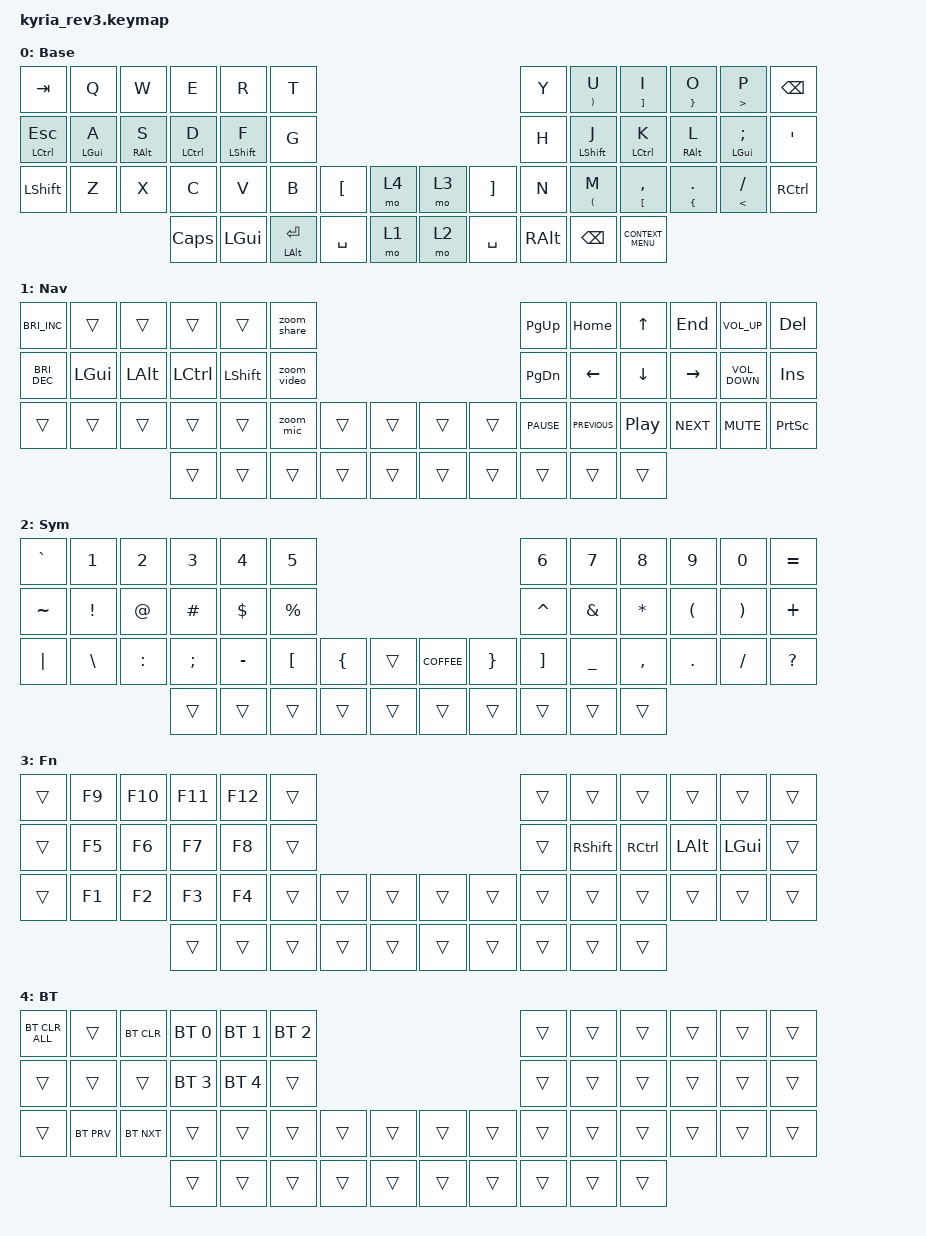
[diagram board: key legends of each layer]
/*
 * Copyright (c) 2023 The ZMK Contributors
 *
 * SPDX-License-Identifier: MIT
 */

#include <behaviors.dtsi>
#include <dt-bindings/zmk/bt.h>
#include <dt-bindings/zmk/keys.h>

/* Uncomment this block if using RGB
&led_strip {
    chain-length = <6>;
    // chain-length = <31>; // Uncomment if using both per-key and underglow LEDs
    // chain-length = <25>; // Uncomment if using only per-key LEDs.
};
 */

&mt {
    flavor = "balanced";
    tapping-term-ms = <350>;
    quick-tap-ms = <175>;
    require-prior-idle-ms = <150>;
};

/ {
    combos {
        compatible = "zmk,combos";

        print-dash-greater {
            bindings = <&printdashgreater>;
            key-positions = <5 6>;
        };

        print-equal-greater {
            bindings = <&printequalgreater>;
            key-positions = <17 18>;
        };

        vscode_terminal {
            bindings = <&none>;
            key-positions = <4 7>;
        };
    };

    macros {
        printdashgreater: printdashgreater {
            compatible = "zmk,behavior-macro";
            #binding-cells = <0>;
            bindings = <&kp MINUS &kp GT>;
            label = "PRINTDASHGREATER";
        };

        printequalgreater: printequalgreater {
            compatible = "zmk,behavior-macro";
            #binding-cells = <0>;
            bindings = <&kp EQUAL &kp GT>;
            label = "PRINTEQUALGREATER";
        };

        vscode_terminal: vscode_terminal {
            compatible = "zmk,behavior-macro";
            #binding-cells = <0>;
            bindings = <&kp LC(TILDE)>;
            label = "VSCODE_TERMINAL";
        };

        zoom_mic: zoom_mic {
            compatible = "zmk,behavior-macro";
            #binding-cells = <0>;
            bindings = <&kp LS(LG(A))>;
            label = "ZOOM_MIC";
        };

        zoom_video: zoom_video {
            compatible = "zmk,behavior-macro";
            #binding-cells = <0>;
            bindings = <&kp LS(LG(V))>;
            label = "ZOOM_VIDEO";
        };

        zoom_share: zoom_share {
            compatible = "zmk,behavior-macro";
            #binding-cells = <0>;
            bindings = <&kp LS(LG(S))>;
            label = "ZOOM_SHARE";
        };
    };

    keymap {
        compatible = "zmk,keymap";

        default_layer {
            display-name = "Base";
            // ---------------------------------------------------------------------------------------------------------------------------------
            // |  ESC  |  Q  |  W  |  E   |  R   |  T   |                                          |  Y   |  U    |  I    |  O   |   P   |   \  |
            // |  TAB  |  A  |  S  |  D   |  F   |  G   |                                          |  H   |  J    |  K    |  L   |   ;   |   '  |
            // | SHIFT |  Z  |  X  |  C   |  V   |  B   | L SHIFT | L SHIFT |  | LAYER 1 | L SHIFT |  N   |  M    |  ,    |  .   |   /   | CTRL |
            //                     | GUI  | DEL  | RET  |  SPACE  |   ESC   |  |   RET   |  SPACE  | TAB  | BSPC  | R-ALT |

            bindings = <
&kp TAB           &kp Q           &kp W            &kp E               &kp R             &kp T                                                                   &kp Y          &mt RIGHT_PARENTHESIS U  &mt RIGHT_BRACKET I     &mt RIGHT_BRACE O   &mt GREATER_THAN P   &kp BACKSPACE
&mt LCTRL ESCAPE  &mt LEFT_GUI A  &mt RIGHT_ALT S  &mt LEFT_CONTROL D  &mt LEFT_SHIFT F  &kp G                                                                   &kp H          &mt LEFT_SHIFT J         &mt LCTRL K             &mt RIGHT_ALT L     &mt LEFT_GUI SEMI    &kp SQT
&kp LSHFT         &kp Z           &kp X            &kp C               &kp V             &kp B                &kp LEFT_BRACKET  &mo 4  &mo 3  &kp RIGHT_BRACKET  &kp N          &mt LEFT_PARENTHESIS M   &mt LEFT_BRACKET COMMA  &mt LEFT_BRACE DOT  &mt LESS_THAN SLASH  &kp RCTRL
                                                   &kp CLCK            &kp LEFT_GUI      &mt LEFT_ALT RETURN  &kp SPACE         &mo 1  &mo 2  &kp SPACE          &kp RIGHT_ALT  &kp BSPC                 &kp K_CONTEXT_MENU
            >;
        };

        layer_3_navigation {
            display-name = "Nav";
            bindings = <
&kp C_BRIGHTNESS_INC  &trans        &trans        &trans     &trans          &zoom_share                                  &kp PAGE_UP    &kp HOME        &kp UP_ARROW      &kp END     &kp C_VOLUME_UP    &kp DELETE
&kp C_BRIGHTNESS_DEC  &kp LEFT_GUI  &kp LEFT_ALT  &kp LCTRL  &kp LEFT_SHIFT  &zoom_video                                  &kp PAGE_DOWN  &kp LEFT_ARROW  &kp DOWN_ARROW    &kp RIGHT   &kp C_VOLUME_DOWN  &kp INS
&trans                &trans        &trans        &trans     &trans          &zoom_mic    &trans  &trans  &trans  &trans  &kp C_PAUSE    &kp C_PREVIOUS  &kp C_PLAY_PAUSE  &kp C_NEXT  &kp C_MUTE         &kp PRINTSCREEN
                                                  &trans     &trans          &trans       &trans  &trans  &trans  &trans  &trans         &trans          &trans
            >;
        };

        layer_4_shift {
            display-name = "Sym";
            bindings = <
&kp GRAVE  &kp NUMBER_1   &kp NUMBER_2  &kp NUMBER_3   &kp NUMBER_4  &kp NUMBER_5                                                             &kp NUMBER_6       &kp NUMBER_7  &kp NUMBER_8  &kp NUMBER_9  &kp NUMBER_0  &kp EQUAL
&kp TILDE  &kp EXCL       &kp AT_SIGN   &kp HASH       &kp DOLLAR    &kp PERCENT                                                              &kp CARET          &kp AMPS      &kp ASTRK     &kp LPAR      &kp RPAR      &kp PLUS
&kp PIPE   &kp BACKSLASH  &kp COLON     &kp SEMICOLON  &kp MINUS     &kp LEFT_BRACKET  &kp LEFT_BRACE  &trans  &kp K_COFFEE  &kp RIGHT_BRACE  &kp RIGHT_BRACKET  &kp UNDER     &kp COMMA     &kp DOT       &kp SLASH     &kp QUESTION
                                        &trans         &trans        &trans            &trans          &trans  &trans        &trans           &trans             &trans        &trans
            >;
        };

        layer_5 {
            display-name = "Fn";
            bindings = <
&trans  &kp F9  &kp F10  &kp F11  &kp F12  &trans                                  &trans  &trans     &trans     &trans    &trans    &trans
&trans  &kp F5  &kp F6   &kp F7   &kp F8   &trans                                  &trans  &kp RSHFT  &kp RCTRL  &kp LALT  &kp LGUI  &trans
&trans  &kp F1  &kp F2   &kp F3   &kp F4   &trans  &trans  &trans  &trans  &trans  &trans  &trans     &trans     &trans    &trans    &trans
                         &trans   &trans   &trans  &trans  &trans  &trans  &trans  &trans  &trans     &trans
            >;
        };

        function_layer {
            display-name = "BT";
            // ---------------------------------------------------------------------------------------------------------------------------------
            // |       |      |BT_CLR|BTSEL0|BTSEL1|BTSEL2|                                         |      |      |      |      |      |      |
            // |       |      |      |BTSEL3|BTSEL4|      |                                         |      |      |      |      |      |      |
            // |       |      |      |      |      |      |      |      |      |      |      |      |      |      |      |      |      |      |
            //                       |      |      |      |      |      |      |      |      |      |      |      |      |

            bindings = <
&bt BT_CLR_ALL  &trans      &bt BT_CLR  &bt BT_SEL 0  &bt BT_SEL 1  &bt BT_SEL 2                                  &trans  &trans  &trans  &trans  &trans  &trans
&trans          &trans      &trans      &bt BT_SEL 3  &bt BT_SEL 4  &trans                                        &trans  &trans  &trans  &trans  &trans  &trans
&trans          &bt BT_PRV  &bt BT_NXT  &trans        &trans        &trans        &trans  &trans  &trans  &trans  &trans  &trans  &trans  &trans  &trans  &trans
                                        &trans        &trans        &trans        &trans  &trans  &trans  &trans  &trans  &trans  &trans
            >;
        };
    };
};
